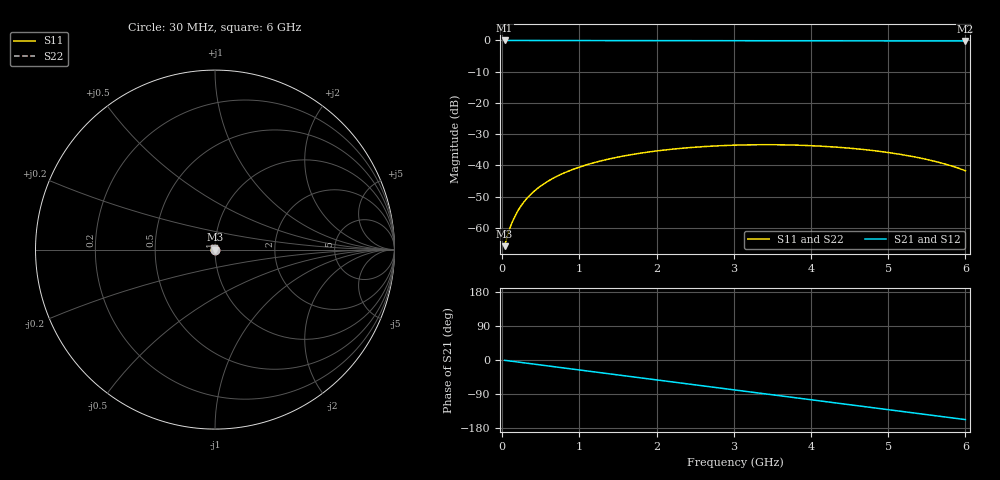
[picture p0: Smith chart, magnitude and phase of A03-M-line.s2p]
! yapnr Order 0 O0-M: O0-M A03 M dL13 (line, family M)
! stackup OSHPARK-4L-EM528, nominal parameters; geometry of the OSHPARK-4L-FR408HR design
! model: 2D quasi-static RLGC (Djordjevic-Sarkar, Huray roughness, Wheeler loss); generated by python -m yapnr.rf.coupons expected --stackup OSHPARK-4L-FR408HR --upload M
! reference planes 10 mm from each end; 50 ohm (from the M line's Zc)
# GHz S DB R 50
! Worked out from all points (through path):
!   200 points, 30 MHz to 6 GHz, reference 50 ohm
!   highest |S21| = 0.00 dB at 30 MHz (marker M1); lowest = -0.2 dB at 6 GHz (marker M2)
!   group delay of S21, straight-line fit = 72.7 ps
!   lowest |S11| = -65.8 dB at 30 MHz (marker M3), VSWR 1.00, Z = 50.1 + j0.0054 ohm
!   |S11| at or under -10 dB: start of sweep to end of sweep
!   |S22| runs from -65.8 to -33.4 dB; largest |S21 - S12| = 0
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0.03  -65.83 6.1  -0.00 -0.8  -0.00 -0.8  -65.83 6.1
0.06  -62.91 -13.3  -0.01 -1.6  -0.01 -1.6  -62.91 -13.3
0.09  -60.61 -27.1  -0.01 -2.4  -0.01 -2.4  -60.61 -27.1
0.15  -56.96 -44.8  -0.01 -4.0  -0.01 -4.0  -56.96 -44.8
0.24  -53.04 -59.5  -0.02 -6.4  -0.02 -6.4  -53.04 -59.5
0.3  -51.08 -65.8  -0.02 -8.0  -0.02 -8.0  -51.08 -65.8
0.36  -49.46 -70.8  -0.02 -9.5  -0.02 -9.5  -49.46 -70.8
0.51  -46.35 -80.2  -0.03 -13.5  -0.03 -13.5  -46.35 -80.2
0.66  -44.07 -87.4  -0.03 -17.4  -0.03 -17.4  -44.07 -87.4
0.84  -41.99 -94.7  -0.04 -22.1  -0.04 -22.1  -41.99 -94.7
1.05  -40.12 -102.2  -0.04 -27.6  -0.04 -27.6  -40.12 -102.2
1.5  -37.31 -116.6  -0.06 -39.5  -0.06 -39.5  -37.31 -116.6
2.04  -35.23 -132.5  -0.07 -53.6  -0.07 -53.6  -35.23 -132.5
2.55  -34.06 -146.9  -0.08 -66.9  -0.08 -66.9  -34.06 -146.9
3.03  -33.49 -160.1  -0.10 -79.5  -0.10 -79.5  -33.49 -160.1
3.51  -33.36 -173.2  -0.11 -92.1  -0.11 -92.1  -33.36 -173.2
4.02  -33.69 173.1  -0.12 -105.4  -0.12 -105.4  -33.69 173.1
4.5  -34.47 160.4  -0.13 -118.0  -0.13 -118.0  -34.47 160.4
5.01  -35.90 147.0  -0.14 -131.3  -0.14 -131.3  -35.90 147.0
5.55  -38.35 133.2  -0.16 -145.5  -0.16 -145.5  -38.35 133.2
5.79  -39.93 127.2  -0.16 -151.7  -0.16 -151.7  -39.93 127.2
6  -41.69 122.3  -0.17 -157.2  -0.17 -157.2  -41.69 122.3
